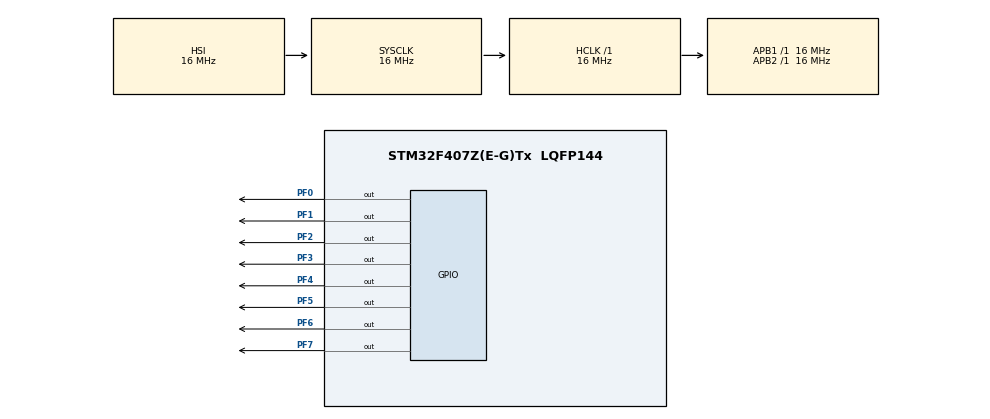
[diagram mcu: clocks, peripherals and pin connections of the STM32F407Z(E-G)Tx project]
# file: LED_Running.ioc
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Mcu.Family=STM32F4
Mcu.Name=STM32F407Z(E-G)Tx
Mcu.Package=LQFP144
NVIC.PriorityGroup=NVIC_PRIORITYGROUP_4
PA13.Mode=Serial_Wire
PA13.Signal=SYS_JTMS-SWDIO
PA14.Mode=Serial_Wire
PA14.Signal=SYS_JTCK-SWCLK
PF0.PinState=GPIO_PIN_SET
PF0.Signal=GPIO_Output
PF1.PinState=GPIO_PIN_SET
PF1.Signal=GPIO_Output
PF2.PinState=GPIO_PIN_SET
PF2.Signal=GPIO_Output
PF3.PinState=GPIO_PIN_SET
PF3.Signal=GPIO_Output
PF4.PinState=GPIO_PIN_SET
PF4.Signal=GPIO_Output
PF5.PinState=GPIO_PIN_SET
PF5.Signal=GPIO_Output
PF6.PinState=GPIO_PIN_SET
PF6.Signal=GPIO_Output
PF7.PinState=GPIO_PIN_SET
PF7.Signal=GPIO_Output
ProjectManager.HeapSize=0x200
ProjectManager.StackSize=0x400
ProjectManager.TargetToolchain=MDK-ARM V5.32
RCC.AHBFreq_Value=16000000
RCC.APB1Freq_Value=16000000
RCC.APB2Freq_Value=16000000
RCC.CortexFreq_Value=16000000
RCC.HSE_VALUE=25000000
RCC.HSI_VALUE=16000000
RCC.LSE_VALUE=32768
RCC.SYSCLKFreq_VALUE=16000000
RCC.VCOOutputFreq_Value=192000000
board=custom

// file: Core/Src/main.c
/* USER CODE BEGIN Header */
/**
  ******************************************************************************
  * @file           : main.c
  * @brief          : Main program body
  ******************************************************************************
  * @attention
  *
  * Copyright (c) 2026 STMicroelectronics.
  * All rights reserved.
  *
  * This software is licensed under terms that can be found in the LICENSE file
  * in the root directory of this software component.
  * If no LICENSE file comes with this software, it is provided AS-IS.
  *
  ******************************************************************************
  */
/* USER CODE END Header */
#include "main.h"
#include "gpio.h"

/* USER CODE BEGIN PD */

#define LED_ON		GPIO_PIN_RESET
#define LED_OFF		GPIO_PIN_SET

#define LED_ALL_PINS  (GPIO_PIN_0 | GPIO_PIN_1 | GPIO_PIN_2 | GPIO_PIN_3 | GPIO_PIN_4 | GPIO_PIN_5 | GPIO_PIN_6 | GPIO_PIN_7)

/* USER CODE END PD */

void SystemClock_Config(void);

int main(void)
{

  /* USER CODE BEGIN 1 */

	const uint16_t led_pins[8] =
	{
		GPIO_PIN_0,
		GPIO_PIN_1,
		GPIO_PIN_2,
		GPIO_PIN_3,
		GPIO_PIN_4,
		GPIO_PIN_5,
		GPIO_PIN_6,
		GPIO_PIN_7
	};

	uint8_t i;

  /* USER CODE END 1 */

  /* MCU Configuration--------------------------------------------------------*/

  /* Reset of all peripherals, Initializes the Flash interface and the Systick. */
  HAL_Init();

  /* Configure the system clock */
  SystemClock_Config();

  /* Initialize all configured peripherals */
  MX_GPIO_Init();

  /* Infinite loop */
  while (1)
  {

    /* USER CODE BEGIN 3 */
	  for (i = 0; i < 8; i++)
	  {
        /* 1. 先关闭全部 LED */
        HAL_GPIO_WritePin(GPIOF, LED_ALL_PINS, LED_OFF);

        /* 2. 只点亮当前这个 LED */
        HAL_GPIO_WritePin(GPIOF, led_pins[i], LED_ON);

        /* 3. 保持亮 500 毫秒 */
        HAL_Delay(500);
	  }

  }
  /* USER CODE END 3 */
}

void SystemClock_Config(void)
{
  RCC_OscInitTypeDef RCC_OscInitStruct = {0};
  RCC_ClkInitTypeDef RCC_ClkInitStruct = {0};

  /** Configure the main internal regulator output voltage
  */
  __HAL_RCC_PWR_CLK_ENABLE();
  __HAL_PWR_VOLTAGESCALING_CONFIG(PWR_REGULATOR_VOLTAGE_SCALE1);

  /** Initializes the RCC Oscillators according to the specified parameters
  * in the RCC_OscInitTypeDef structure.
  */
  RCC_OscInitStruct.OscillatorType = RCC_OSCILLATORTYPE_HSI;
  RCC_OscInitStruct.HSIState = RCC_HSI_ON;
  RCC_OscInitStruct.HSICalibrationValue = RCC_HSICALIBRATION_DEFAULT;
  RCC_OscInitStruct.PLL.PLLState = RCC_PLL_NONE;
  if (HAL_RCC_OscConfig(&RCC_OscInitStruct) != HAL_OK)
  {
    Error_Handler();
  }

  /** Initializes the CPU, AHB and APB buses clocks
  */
  RCC_ClkInitStruct.ClockType = RCC_CLOCKTYPE_HCLK|RCC_CLOCKTYPE_SYSCLK
                              |RCC_CLOCKTYPE_PCLK1|RCC_CLOCKTYPE_PCLK2;
  RCC_ClkInitStruct.SYSCLKSource = RCC_SYSCLKSOURCE_HSI;
  RCC_ClkInitStruct.AHBCLKDivider = RCC_SYSCLK_DIV1;
  RCC_ClkInitStruct.APB1CLKDivider = RCC_HCLK_DIV1;
  RCC_ClkInitStruct.APB2CLKDivider = RCC_HCLK_DIV1;

  if (HAL_RCC_ClockConfig(&RCC_ClkInitStruct, FLASH_LATENCY_0) != HAL_OK)
  {
    Error_Handler();
  }
}

void Error_Handler(void)
{
  __disable_irq();
  while (1)
  {
  }
}
